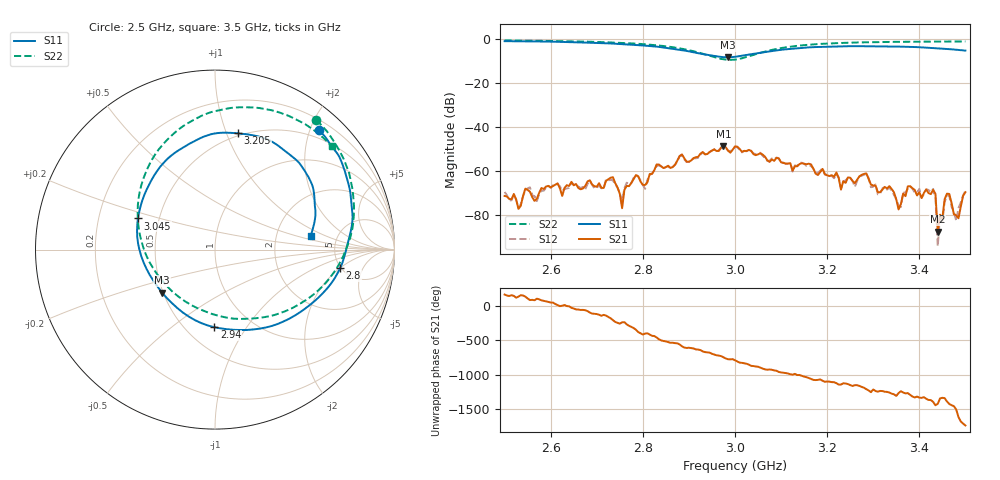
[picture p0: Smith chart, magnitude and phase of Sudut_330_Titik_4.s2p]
# Hz S RI R 50
! CMT, C1220, 16058040, 17.2.0/1
! Date: 15/08/2018 10:36:32
! Data: Format (Calibration Info)
! Freq  S11: Re/Im (F2)  S21: Re/Im (F2)  S12: Re/Im (F2)  S22: Re/Im (F2)
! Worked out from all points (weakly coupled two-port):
!   201 points, 2.5 GHz to 3.5 GHz, reference 50 ohm
!   highest |S21| = -48.90 dB at 2.975 GHz (marker M1); lowest = -87.7 dB at 3.44 GHz (marker M2)
!   lowest |S11| = -8.4 dB at 2.985 GHz (marker M3), VSWR 2.22, Z = 24.7 - j13.8 ohm
!   |S11| at or under -10 dB: nowhere
!   |S22| runs from -9.6 to -0.8 dB; largest |S21 - S12| = 0.00025
!   S11 on the Smith chart (normalised r, x): 2.5 GHz: 0.35, +2.14; 2.8 GHz: 4.93, -2.01; 2.94 GHz: 0.68, -0.72; 3.045 GHz: 0.38, +0.17; 3.205 GHz: 0.48, +1.10; 3.5 GHz: 3.17, +0.70
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2.5e9  0.5787 0.6674  -0.000265 3.42e-05  -0.000325 3.92e-05  0.5647 0.7224
2.67e9  0.7494 0.342  0.000243 -0.000311  0.000247 -0.00035  0.7373 0.453
2.735e9  0.7646 0.1507  -0.000665 0.00026  -0.000551 0.000233  0.7705 0.2885
2.755e9  0.7508 0.079  -8.16e-05 0.000114  -7.74e-05 0.000185  0.7745 0.2285
2.785e9  0.7212 -0.0365  0.000757 0.000245  0.00077 0.0002  0.7667 0.1254
2.8e9  0.6974 -0.1026  0.000288 -0.00038  0.000282 -0.000381  0.7545 0.0716
2.835e9  0.6122 -0.2306  -0.00075 -0.00116  -0.000685 -0.00112  0.7001 -0.0649
2.94e9  -0.00441 -0.4321  0.00169 0.0017  0.00173 0.00169  0.1826 -0.3851
2.975e9  -0.2395 -0.2984  0.00321 -0.00161  0.00314 -0.00158  -0.0917 -0.3295
2.985e9  -0.2951 -0.2391  0.00162 -0.00234  0.00167 -0.00234  -0.1663 -0.2886
3e9  -0.3638 -0.1409  0.00118 -0.00336  0.000969 -0.00337  -0.2665 -0.205
3.045e9  -0.4297 0.1733  -0.00213 -0.000742  -0.00223 -0.000862  -0.4268 0.1326
3.17e9  -0.00481 0.6465  0.00112 5.1e-05  0.00111 0.000134  -0.0789 0.7435
3.205e9  0.128 0.6477  0.000697 -0.00029  0.000655 -0.00041  0.0511 0.7822
3.335e9  0.4691 0.483  -0.000446 1.77e-05  -0.000408 6.29e-05  0.402 0.7483
3.355e9  0.4994 0.4394  -0.00013 2.26e-05  -0.000156 5.16e-05  0.44 0.7313
3.375e9  0.5264 0.393  -0.000433 8.32e-05  -0.000374 8.44e-05  0.4787 0.7114
3.43e9  0.5557 0.2552  0.000279 0.000239  0.000316 0.000221  0.5637 0.6557
3.44e9  0.5579 0.2298  4.05e-05 8.22e-06  1.34e-05 -1.38e-05  0.5785 0.6433
3.46e9  0.5586 0.1815  0.000205 0.00022  0.000127 0.000241  0.6047 0.6216
3.485e9  0.5458 0.118  -8.3e-05 2.73e-06  -0.000132 5.02e-05  0.634 0.5919
3.5e9  0.5333 0.0784  0.000184 0.000268  0.000218 0.000275  0.6511 0.5747
